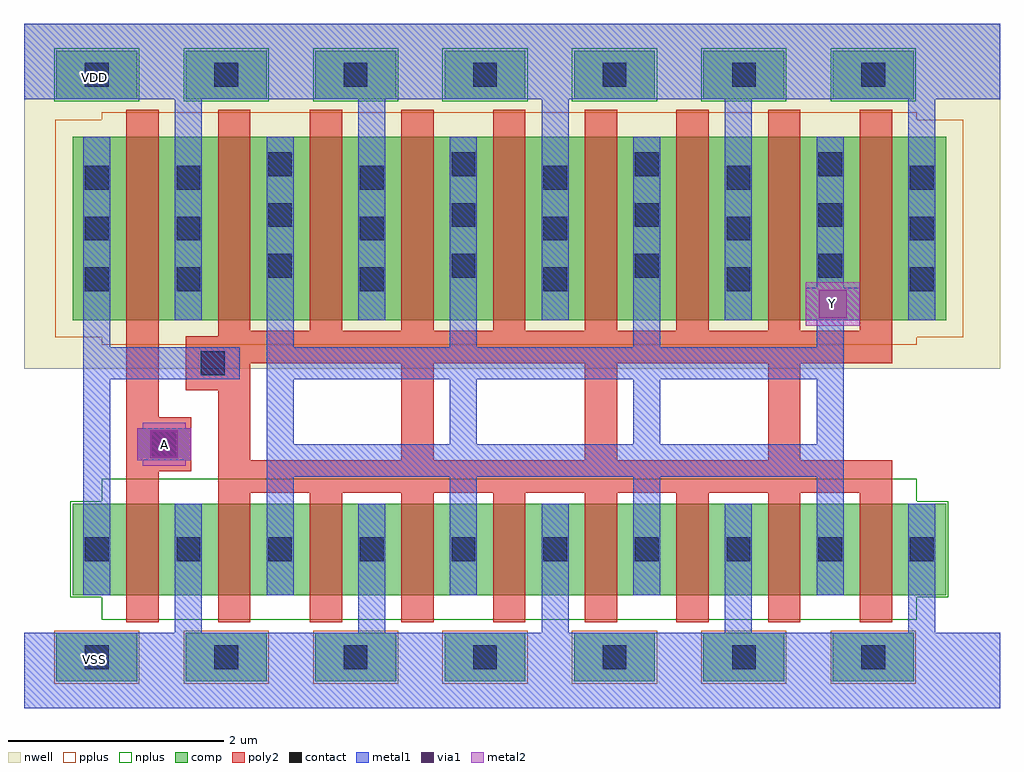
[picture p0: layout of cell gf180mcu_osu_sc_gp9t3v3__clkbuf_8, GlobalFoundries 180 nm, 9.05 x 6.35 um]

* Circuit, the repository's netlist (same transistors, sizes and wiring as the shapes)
* Copyright 2022 Google LLC
*
* Licensed under the Apache License, Version 2.0 (the "License");
* you may not use this file except in compliance with the License.
* You may obtain a copy of the License at
*
*      http://www.apache.org/licenses/LICENSE-2.0
*
* Unless required by applicable law or agreed to in writing, software
* distributed under the License is distributed on an "AS IS" BASIS,
* WITHOUT WARRANTIES OR CONDITIONS OF ANY KIND, either express or implied.
* See the License for the specific language governing permissions and
* limitations under the License.

* NGSPICE file created from gf180mcu_osu_sc_gp9t3v3__clkbuf_8.ext - technology: gf180mcuC

.subckt gf180mcu_osu_sc_gp9t3v3__clkbuf_8 A Y VDD VSS
X0 Y a_9_21# VDD VDD pfet_03p3 w=1.7u l=0.3u
X1 VDD a_9_21# Y VDD pfet_03p3 w=1.7u l=0.3u
X2 VDD a_9_21# Y VDD pfet_03p3 w=1.7u l=0.3u
X3 VDD A a_9_21# VDD pfet_03p3 w=1.7u l=0.3u
X4 Y a_9_21# VSS VSS nfet_03p3 w=0.85u l=0.3u
X5 VSS a_9_21# Y VSS nfet_03p3 w=0.85u l=0.3u
X6 VSS a_9_21# Y VSS nfet_03p3 w=0.85u l=0.3u
X7 VSS A a_9_21# VSS nfet_03p3 w=0.85u l=0.3u
X8 VDD a_9_21# Y VDD pfet_03p3 w=1.7u l=0.3u
X9 VDD a_9_21# Y VDD pfet_03p3 w=1.7u l=0.3u
X10 Y a_9_21# VDD VDD pfet_03p3 w=1.7u l=0.3u
X11 Y a_9_21# VDD VDD pfet_03p3 w=1.7u l=0.3u
X12 Y a_9_21# VDD VDD pfet_03p3 w=1.7u l=0.3u
X13 VSS a_9_21# Y VSS nfet_03p3 w=0.85u l=0.3u
X14 VSS a_9_21# Y VSS nfet_03p3 w=0.85u l=0.3u
X15 Y a_9_21# VSS VSS nfet_03p3 w=0.85u l=0.3u
X16 Y a_9_21# VSS VSS nfet_03p3 w=0.85u l=0.3u
X17 Y a_9_21# VSS VSS nfet_03p3 w=0.85u l=0.3u
.ends

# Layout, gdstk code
import gdstk
lib = gdstk.Library(unit=1e-6, precision=1e-09)
def R(c, l, rs):  # rectangles x0, y0, x1, y1
    for r in rs: c.add(gdstk.rectangle(r[:2], r[2:], *l))
def A(c, l, x, y, w, h, nx, ny, dx, dy):  # array of equal rectangles
    R(c, l, [(x+i*dx, y+j*dy, x+i*dx+w, y+j*dy+h) for i in range(nx) for j in range(ny)])
nwell = (21, 0)
comp = (22, 0)
poly2 = (30, 0)
pplus = (31, 0)
nplus = (32, 0)
contact = (33, 0)
metal1 = (34, 0)
via1 = (35, 0)
metal2 = (36, 0)

gf180mcu_osu_sc_gp9t3v3_ = lib.new_cell('gf180mcu_osu_sc_gp9t3v3__clkbuf_8')
R(gf180mcu_osu_sc_gp9t3v3_, nwell, [(0,3.15,9.05,6.35)])
A(gf180mcu_osu_sc_gp9t3v3_, comp, 0.3, 0.25, 0.75, 0.45, 7, 2, 1.2, 5.4)
R(gf180mcu_osu_sc_gp9t3v3_, comp, [(0.45,1.05,8.55,1.9), (0.45,3.6,8.55,5.3)])
A(gf180mcu_osu_sc_gp9t3v3_, poly2, 1.8, 0.8, 0.3, 1.2, 8, 1, 0.85, 0)
A(gf180mcu_osu_sc_gp9t3v3_, poly2, 3.5, 2.3, 0.3, 0.9, 3, 1, 1.7, 0)
A(gf180mcu_osu_sc_gp9t3v3_, poly2, 1.8, 3.5, 0.3, 2.05, 8, 1, 0.85, 0)
R(gf180mcu_osu_sc_gp9t3v3_, poly2, [(0.95,0.8,1.25,2.2), (1.8,2,8.05,2.3), (0.95,2.2,1.55,2.7), (1.8,2.3,2.1,2.95), (0.95,2.7,1.25,5.55), (1.5,2.95,2.1,3.2), (1.5,3.2,8.05,3.45), (1.8,3.45,8.05,3.5)])
A(gf180mcu_osu_sc_gp9t3v3_, pplus, 0.28, 0.23, 0.79, 0.49, 7, 1, 1.2, 0)
R(gf180mcu_osu_sc_gp9t3v3_, pplus, [(0.72,3.37,8.28,3.44), (0.29,3.44,8.71,5.46), (0.72,5.46,8.28,5.53)])
A(gf180mcu_osu_sc_gp9t3v3_, nplus, 0.28, 5.63, 0.79, 0.49, 7, 1, 1.2, 0)
R(gf180mcu_osu_sc_gp9t3v3_, nplus, [(0.72,0.82,8.28,1.03), (0.43,1.03,8.57,1.92), (0.72,1.92,8.28,2.13)])
A(gf180mcu_osu_sc_gp9t3v3_, contact, 0.565, 0.365, 0.22, 0.22, 7, 2, 1.2, 5.4)
A(gf180mcu_osu_sc_gp9t3v3_, contact, 0.565, 1.365, 0.22, 0.22, 10, 1, 0.85, 0)
A(gf180mcu_osu_sc_gp9t3v3_, contact, 0.565, 3.87, 0.22, 0.22, 1, 3, 0, 0.47)
A(gf180mcu_osu_sc_gp9t3v3_, contact, 1.415, 3.87, 0.22, 0.22, 5, 3, 1.7, 0.47)
A(gf180mcu_osu_sc_gp9t3v3_, contact, 2.265, 3.995, 0.22, 0.22, 4, 3, 1.7, 0.47)
R(gf180mcu_osu_sc_gp9t3v3_, contact, [(1.19,2.34,1.41,2.56), (1.64,3.09,1.86,3.31)])
A(gf180mcu_osu_sc_gp9t3v3_, metal1, 1.4, 0.7, 0.25, 1.2, 5, 1, 1.7, 0)
A(gf180mcu_osu_sc_gp9t3v3_, metal1, 2.25, 1.05, 0.25, 1.1, 4, 1, 1.7, 0)
A(gf180mcu_osu_sc_gp9t3v3_, metal1, 2.25, 2.45, 0.25, 0.6, 4, 1, 1.7, 0)
A(gf180mcu_osu_sc_gp9t3v3_, metal1, 0.55, 3.35, 0.25, 1.95, 4, 1, 1.7, 0)
A(gf180mcu_osu_sc_gp9t3v3_, metal1, 1.4, 3.6, 0.25, 2.05, 5, 1, 1.7, 0)
R(gf180mcu_osu_sc_gp9t3v3_, metal1, [(0,0,9.05,0.7), (0.55,1.05,0.8,3.05), (2.25,2.15,7.6,2.45), (1.05,2.3,1.55,2.6), (0.55,3.05,2,3.35), (2.25,3.05,7.6,3.35), (7.35,3.35,7.6,3.6), (7.25,3.6,7.75,3.9), (7.35,3.9,7.6,5.3), (0,5.65,9.05,6.35)])
R(gf180mcu_osu_sc_gp9t3v3_, via1, [(1.17,2.32,1.43,2.58), (7.37,3.62,7.63,3.88)])
R(gf180mcu_osu_sc_gp9t3v3_, metal2, [(1.1,2.25,1.5,2.3), (1.05,2.3,1.55,2.6), (1.1,2.6,1.5,2.65), (7.25,3.55,7.75,3.95)])
gf180mcu_osu_sc_gp9t3v3_.add(gdstk.Label('A', (1.3,2.45), layer=36, texttype=10))
gf180mcu_osu_sc_gp9t3v3_.add(gdstk.Label('Y', (7.5,3.75), layer=36, texttype=10))
gf180mcu_osu_sc_gp9t3v3_.add(gdstk.Label('VDD', (0.65,5.85), layer=34, texttype=10))
gf180mcu_osu_sc_gp9t3v3_.add(gdstk.Label('VSS', (0.65,0.45), layer=34, texttype=10))

lib.write_gds('gf180mcu_osu_sc_gp9t3v3__clkbuf_8.gds')
